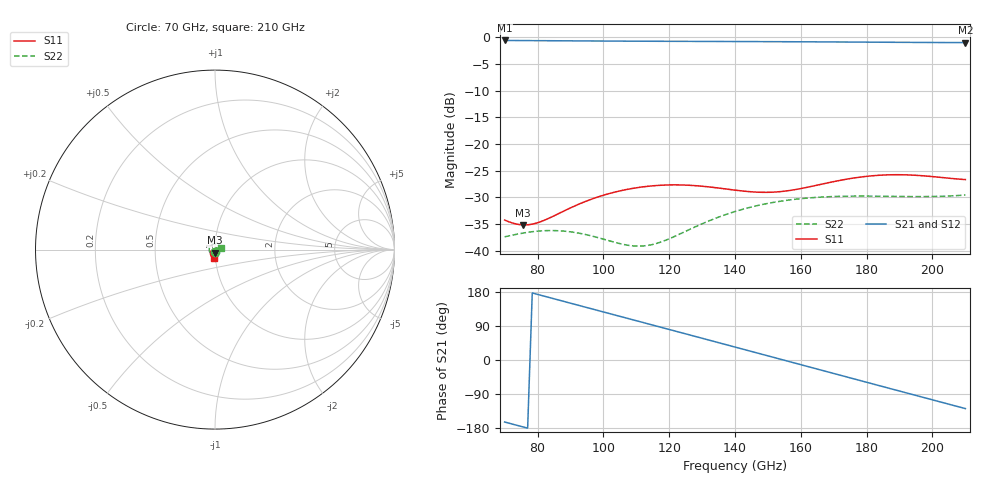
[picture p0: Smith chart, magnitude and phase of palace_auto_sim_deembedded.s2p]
! Created with skrf 1.11.0 (http://scikit-rf.org).
# GHz S DB R 50.0
!freq dBS11 angS11 dBS21 angS21 dBS12 angS12 dBS22 angS22
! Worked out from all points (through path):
!   101 points, 70 GHz to 210 GHz, reference 50 ohm
!   highest |S21| = -0.61 dB at 70 GHz (marker M1); lowest = -1.0 dB at 210 GHz (marker M2)
!   group delay of S21, straight-line fit = 6.44 ps
!   lowest |S11| = -35.2 dB at 75.6 GHz (marker M3), VSWR 1.04, Z = 49.8 - j1.72 ohm
!   |S11| at or under -10 dB: start of sweep to end of sweep
!   |S22| runs from -39.2 to -29.6 dB; largest |S21 - S12| = 1.1e-14
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70  -34.28 -109.3  -0.61 -163.6  -0.61 -163.6  -37.43 -82.1
75.6  -35.19 -96.3  -0.63 -176.6  -0.63 -176.6  -36.72 -89.5
84  -33.79 -77.8  -0.66 163.9  -0.66 163.9  -36.25 -109.3
93.8  -30.98 -73.5  -0.70 141.2  -0.70 141.2  -36.89 -143.2
100.8  -29.48 -76.8  -0.72 125.0  -0.72 125.0  -37.99 -175.2
106.4  -28.63 -80.9  -0.74 112.0  -0.74 112.0  -38.89 152.9
112  -28.06 -85.5  -0.75 99.1  -0.75 99.1  -39.15 116.1
117.6  -27.75 -90.2  -0.77 86.1  -0.77 86.1  -38.37 78.8
123.2  -27.70 -94.5  -0.78 73.2  -0.78 73.2  -36.91 45.6
128.8  -27.87 -97.9  -0.79 60.2  -0.79 60.2  -35.31 17.0
140  -28.67 -99.7  -0.81 34.2  -0.81 34.2  -32.68 -32.2
147  -29.06 -96.3  -0.83 17.9  -0.83 17.9  -31.54 -60.6
152.6  -29.01 -92.0  -0.84 4.9  -0.84 4.9  -30.87 -83.0
158.2  -28.58 -88.1  -0.85 -8.1  -0.85 -8.1  -30.39 -105.4
163.8  -27.89 -85.7  -0.87 -21.1  -0.87 -21.1  -30.07 -128.2
169.4  -27.15 -85.4  -0.89 -34.2  -0.89 -34.2  -29.88 -151.5
176.4  -26.37 -87.4  -0.91 -50.4  -0.91 -50.4  -29.79 178.6
182  -25.96 -90.1  -0.93 -63.4  -0.93 -63.4  -29.80 153.8
187.6  -25.79 -93.0  -0.95 -76.4  -0.95 -76.4  -29.84 128.2
193.2  -25.84 -95.5  -0.97 -89.4  -0.97 -89.4  -29.87 101.8
198.8  -26.07 -97.0  -0.99 -102.3  -0.99 -102.3  -29.87 74.6
210  -26.69 -95.1  -1.02 -128.3  -1.02 -128.3  -29.59 18.3
